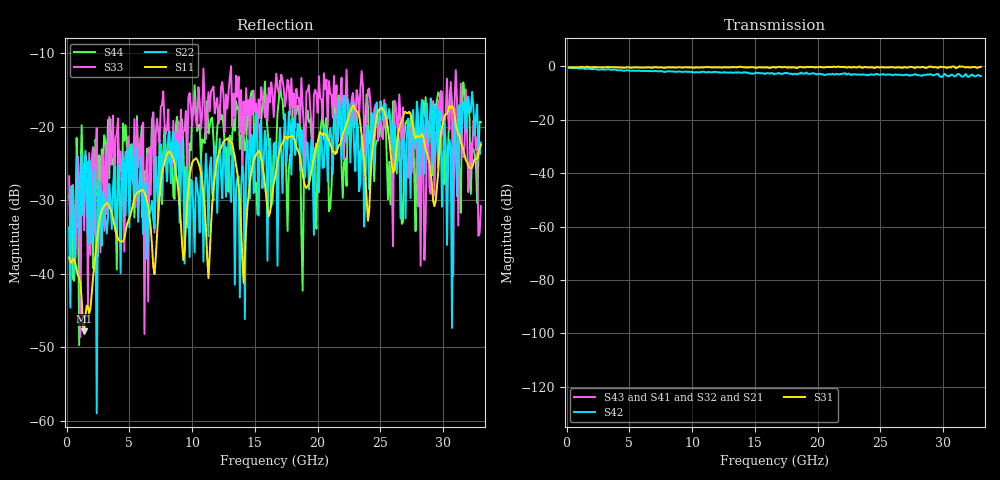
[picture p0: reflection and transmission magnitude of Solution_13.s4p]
# GHZ S RI R 50
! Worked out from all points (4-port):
!   329 points, 200 MHz to 33 GHz, reference 50 ohm
!   strongest paths, dB at 200 MHz, 8.4 GHz, 16.6 GHz, 24.8 GHz, 33 GHz:
!     S31: -0.4, -0.4, -0.4, -0.3, -0.1
!     S42: -0.5, -1.9, -2.7, -3.0, -3.6
!     S43: -, -, -, -, -
!     S41: -, -, -, -, -
!     S32: -, -, -, -, -
!     S21: -, -, -, -, -
!   lowest |S11| = -47.8 dB at 1.4 GHz (marker M1), VSWR 1.01, Z = 50.4 + j0.0855 ohm
!   |S11| at or under -10 dB: start of sweep to end of sweep
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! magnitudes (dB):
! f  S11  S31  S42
! 200 MHz  -37.8  -0.4  -0.5
! 1.4 GHz  -47.8  -0.4  -0.8
! 2.3 GHz  -37.3  -0.3  -1.0
! 2.4 GHz  -35.7  -0.3  -1.1
! 2.5 GHz  -34.3  -0.3  -1.2
! 5.2 GHz  -31.3  -0.5  -1.6
! 33 GHz  -22.5  -0.1  -3.6
